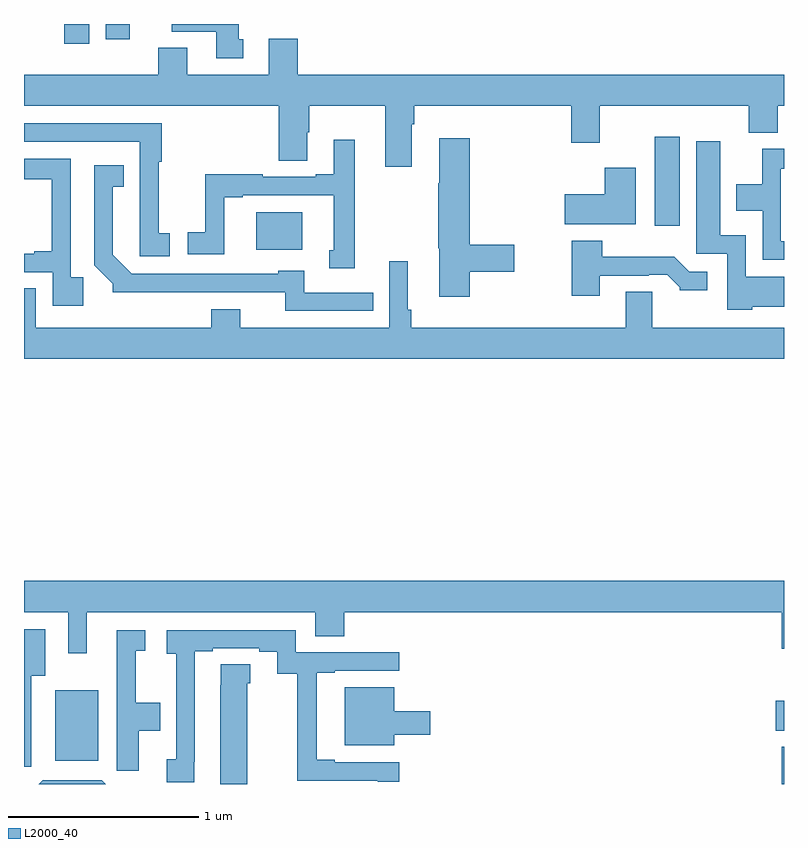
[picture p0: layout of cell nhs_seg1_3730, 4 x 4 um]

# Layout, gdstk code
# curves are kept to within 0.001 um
import gdstk
lib = gdstk.Library(unit=1e-6, precision=1e-09)
def R(c, l, rs):  # rectangles x0, y0, x1, y1
    for r in rs: c.add(gdstk.rectangle(r[:2], r[2:], *l))
def P(c, l, *ps):  # polygons
    for p in ps: c.add(gdstk.Polygon(p, *l))
L2000_40 = (2000, 40)

nhs_seg1_3730 = lib.new_cell('nhs_seg1_3730')
R(nhs_seg1_3730, L2000_40, [(318.989,512.199,319,512.395), (315.164,512.321,315.391,512.692), (318.957,512.48,319,512.638), (316.223,515.012,316.465,515.209), (318.32,515.136,318.451,515.605), (315.212,516.096,315.343,516.199), (315.431,516.12,315.556,516.199)])
P(nhs_seg1_3730, L2000_40, [(316.153,516.12),(316.129,516.12),(316.129,516.199),(315.778,516.199),(315.778,516.158),(316.013,516.158),(316.013,516.018),(316.153,516.018)],
  [(317.041,515.672),(317.054,515.672),(317.054,515.768),(317.879,515.768),(317.879,515.574),(318.031,515.574),(318.031,515.768),(318.815,515.768),(318.815,515.627),(318.967,515.627),(318.967,515.768),(319,515.768),(319,515.932),(316.442,515.932),(316.442,516.121),(316.289,516.121),(316.289,515.932),(315.859,515.932),(315.859,516.073),(315.707,516.073),(315.707,515.932),(315,515.932),(315,515.768),(316.34,515.768),(316.34,515.479),(316.492,515.479),(316.492,515.63),(316.5,515.63),(316.5,515.768),(316.901,515.768),(316.901,515.448),(317.041,515.448)],
  [(315.766,515.097),(315.708,515.097),(315.708,515.473),(315.725,515.473),(315.725,515.676),(315,515.676),(315,515.58),(315.609,515.58),(315.609,515.252),(315.608,515.252),(315.608,514.977),(315.766,514.977)],
  [(317.345,514.894),(317.581,514.894),(317.581,515.036),(317.345,515.036),(317.345,515.599),(317.186,515.599),(317.186,515.36),(317.179,515.36),(317.179,515.019),(317.186,515.019),(317.186,514.764),(317.345,514.764)],
  [(316.741,515.59),(316.631,515.59),(316.631,515.407),(316.535,515.407),(316.535,515.394),(316.256,515.394),(316.256,515.407),(315.955,515.407),(315.955,515.102),(315.861,515.102),(315.861,514.986),(316.054,514.986),(316.054,515.286),(316.15,515.286),(316.15,515.298),(316.631,515.298),(316.631,515.007),(316.607,515.007),(316.607,514.913),(316.741,514.913)],
  [(318.834,514.712),(319,514.712),(319,514.87),(318.798,514.87),(318.798,515.086),(318.664,515.086),(318.664,515.581),(318.539,515.581),(318.539,514.989),(318.702,514.989),(318.702,514.694),(318.834,514.694)],
  [(319,515.055),(318.984,515.055),(318.984,515.438),(319,515.438),(319,515.542),(318.886,515.542),(318.886,515.356),(318.749,515.356),(318.749,515.216),(318.888,515.216),(318.888,514.959),(319,514.959)],
  [(315.311,514.867),(315.246,514.867),(315.246,515.49),(315,515.49),(315,515.382),(315.145,515.382),(315.145,515.002),(315.053,515.002),(315.053,514.989),(315,514.989),(315,514.893),(315.15,514.893),(315.15,514.716),(315.311,514.716)],
  [(316.838,514.785),(316.474,514.785),(316.474,514.9),(316.338,514.9),(316.338,514.884),(315.567,514.884),(315.466,514.985),(315.466,515.342),(315.524,515.342),(315.524,515.455),(315.369,515.455),(315.369,514.93),(315.468,514.831),(315.468,514.787),(316.375,514.788),(316.375,514.689),(316.838,514.689)],
  [(318.22,515.443),(318.056,515.443),(318.056,515.302),(317.847,515.302),(317.847,515.144),(318.22,515.144)],
  [(318.031,514.875),(318.287,514.875),(318.287,514.878),(318.386,514.878),(318.45,514.814),(318.45,514.799),(318.595,514.799),(318.595,514.896),(318.501,514.896),(318.423,514.975),(318.044,514.975),(318.044,515.059),(317.884,515.059),(317.884,514.77),(318.031,514.77)],
  [(319,514.6),(318.307,514.6),(318.307,514.79),(318.167,514.79),(318.167,514.6),(317.039,514.6),(317.039,514.696),(317.02,514.696),(317.02,514.951),(316.923,514.951),(316.923,514.6),(316.138,514.6),(316.138,514.699),(315.986,514.699),(315.986,514.6),(315.061,514.6),(315.061,514.808),(315,514.808),(315,514.436),(319,514.436)],
  [(315.331,513.104),(316.532,513.104),(316.532,512.977),(316.685,512.977),(316.685,513.104),(318.989,513.104),(318.989,512.91),(319,512.91),(319,513.268),(315,513.268),(315,513.104),(315.234,513.104),(315.234,512.886),(315.331,512.886)],
  [(315.037,512.768),(315.112,512.768),(315.112,513.013),(315,513.013),(315,512.289),(315.037,512.289)],
  [(315.897,512.317),(315.898,512.317),(315.898,512.898),(315.994,512.898),(315.994,512.913),(316.238,512.913),(316.238,512.895),(316.334,512.895),(316.334,512.78),(316.438,512.78),(316.438,512.217),(316.862,512.217),(316.862,512.212),(316.975,512.212),(316.975,512.313),(316.636,512.313),(316.636,512.326),(316.54,512.326),(316.54,512.784),(316.636,512.784),(316.636,512.796),(316.975,512.796),(316.975,512.892),(316.431,512.892),(316.431,513.009),(315.75,513.009),(315.75,512.885),(315.801,512.885),(315.801,512.328),(315.75,512.328),(315.75,512.209),(315.897,512.209)],
  [(315.604,512.479),(315.716,512.479),(315.716,512.626),(315.587,512.626),(315.587,512.901),(315.637,512.901),(315.637,513.007),(315.488,513.007),(315.488,512.268),(315.604,512.268)],
  [(316.174,512.73),(316.192,512.73),(316.192,512.828),(316.035,512.828),(316.035,512.72),(316.034,512.72),(316.034,512.199),(316.174,512.199)],
  [(316.948,512.459),(317.137,512.459),(317.137,512.581),(316.948,512.581),(316.948,512.707),(316.688,512.707),(316.688,512.402),(316.948,512.402)],
  [(315.408,512.22),(315.099,512.22),(315.078,512.199),(315.429,512.199)])

lib.write_gds('nhs_seg1_3730.gds')
